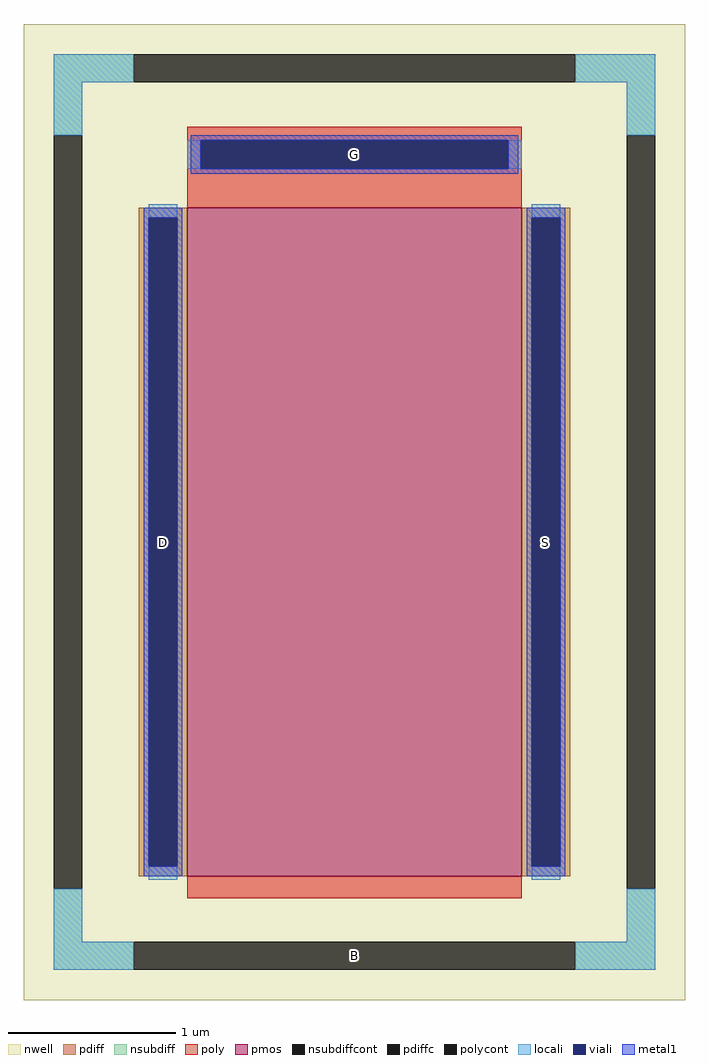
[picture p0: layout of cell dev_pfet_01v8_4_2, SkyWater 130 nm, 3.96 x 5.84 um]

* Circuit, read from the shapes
.subckt dev_pfet_01v8_4_2 B D S G
XM1 S G D B sky130_fd_pr__pfet_01v8 w=4 l=2
.ends

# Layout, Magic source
magic
tech sky130A
magscale 1 2
<< nwell >>
rect -396 -584 396 584
<< pmos >>
rect -200 -436 200 364
<< pdiff >>
rect -258 352 -200 364
rect -258 -424 -246 352
rect -212 -424 -200 352
rect -258 -436 -200 -424
rect 200 352 258 364
rect 200 -424 212 352
rect 246 -424 258 352
rect 200 -436 258 -424
<< pdiffc >>
rect -246 -424 -212 352
rect 212 -424 246 352
<< nsubdiff >>
rect -360 514 -264 548
rect 264 514 360 548
rect -360 451 -326 514
rect 326 451 360 514
rect -360 -514 -326 -451
rect 326 -514 360 -451
rect -360 -548 -264 -514
rect 264 -548 360 -514
<< nsubdiffcont >>
rect -264 514 264 548
rect -360 -451 -326 451
rect 326 -451 360 451
rect -264 -548 264 -514
<< poly >>
rect -200 445 200 461
rect -200 411 -184 445
rect 184 411 200 445
rect -200 364 200 411
rect -200 -462 200 -436
<< polycont >>
rect -184 411 184 445
<< locali >>
rect -360 514 -264 548
rect 264 514 360 548
rect -360 451 -326 514
rect 326 451 360 514
rect -200 411 -184 445
rect 184 411 200 445
rect -246 352 -212 368
rect -246 -440 -212 -424
rect 212 352 246 368
rect 212 -440 246 -424
rect -360 -514 -326 -451
rect 326 -514 360 -451
rect -360 -548 -264 -514
rect 264 -548 360 -514
<< viali >>
rect -184 411 184 445
rect -246 -424 -212 352
rect 212 -424 246 352
<< metal1 >>
rect -196 445 196 451
rect -196 411 -184 445
rect 184 411 196 445
rect -196 405 196 411
rect -252 352 -206 364
rect -252 -424 -246 352
rect -212 -424 -206 352
rect -252 -436 -206 -424
rect 206 352 252 364
rect 206 -424 212 352
rect 246 -424 252 352
rect 206 -436 252 -424
<< labels >>
rlabel nsubdiffcont 0 -531 0 -531 0 B
port 1 nsew
rlabel pdiffc -229 -36 -229 -36 0 D
port 2 nsew
rlabel pdiffc 229 -36 229 -36 0 S
port 3 nsew
rlabel polycont 0 428 0 428 0 G
port 4 nsew
<< properties >>
string FIXED_BBOX -343 -531 343 531
<< end >>
